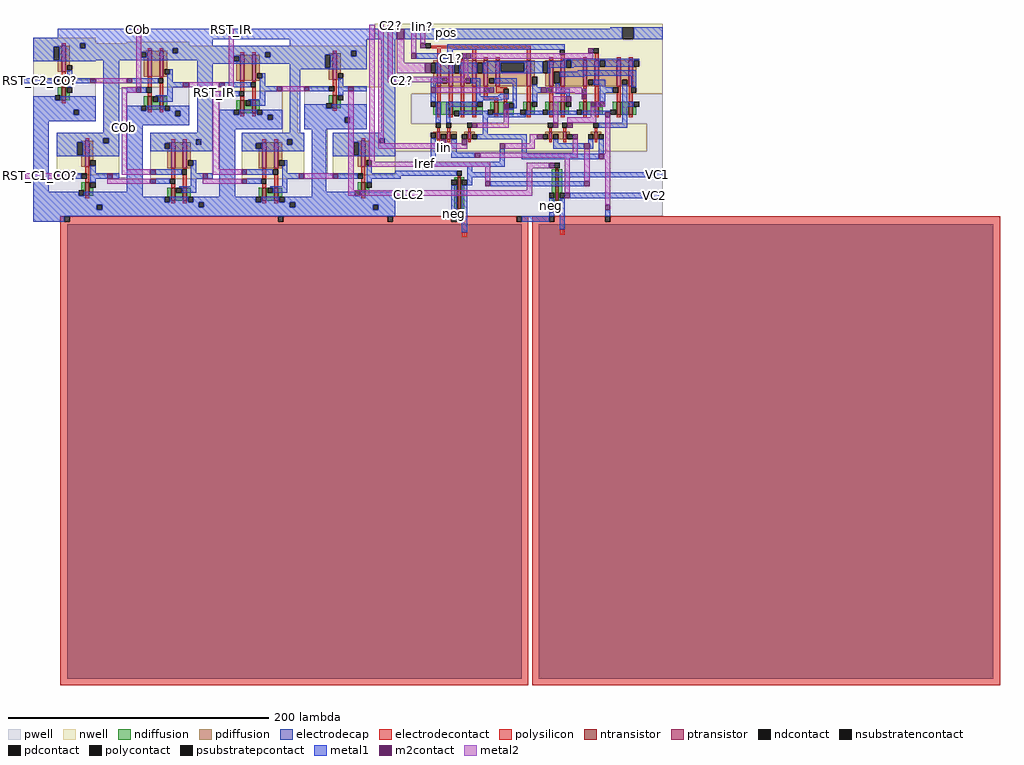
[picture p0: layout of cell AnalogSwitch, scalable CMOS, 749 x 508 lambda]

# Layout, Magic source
magic
tech scmos
<< nwell >>
rect -56 35 165 47
rect -271 4 -246 32
rect -270 2 -246 4
rect -198 2 -175 30
rect -264 -3 -246 2
rect -203 -2 -175 2
rect -264 -37 -252 -3
rect -192 -5 -175 -2
rect -127 -1 -108 30
rect -127 -2 -109 -1
rect -62 -2 165 35
rect -192 -51 -180 -5
rect -127 -37 -115 -2
rect -51 -7 165 -2
rect -51 -30 -28 -7
rect -51 -51 153 -30
rect -51 -55 -40 -51
<< pwell >>
rect -318 -69 -306 -28
rect -318 -83 -300 -69
rect -246 -71 -234 -31
rect -252 -72 -234 -71
rect -175 -72 -163 -34
rect -28 -30 165 -7
rect -104 -69 -92 -34
rect 153 -51 165 -30
rect -104 -72 -88 -69
rect -318 -105 -297 -83
rect -252 -101 -88 -72
rect -40 -101 165 -51
<< electrodecontact >>
rect 11 -117 15 -113
rect 86 -115 90 -111
<< electrodecap >>
rect -292 -456 57 -107
rect 70 -456 419 -107
<< ntransistor >>
rect -8 -23 -5 -13
rect 1 -23 4 -13
rect 10 -23 13 -13
rect 19 -23 22 -13
rect 36 -23 39 -13
rect 43 -23 46 -13
rect 61 -23 64 -13
rect 78 -23 81 -13
rect 87 -23 90 -13
rect 104 -23 107 -13
rect 113 -23 116 -13
rect 130 -23 133 -13
rect 139 -23 142 -13
rect 8 -95 10 -71
rect 83 -89 85 -65
<< ptransistor >>
rect -8 -1 -5 19
rect 1 -1 4 19
rect 10 -1 13 19
rect 19 -1 22 19
rect 28 -1 31 19
rect 37 -1 40 19
rect 61 -1 64 19
rect 78 -1 81 19
rect 87 -1 90 19
rect 104 -1 107 19
rect 113 -1 116 19
rect 130 -1 133 19
rect 139 -1 142 19
rect -8 -42 -6 -36
rect 0 -42 2 -36
rect 16 -42 18 -36
rect 78 -42 80 -36
rect 89 -42 91 -36
rect 113 -42 115 -36
<< ndiffusion >>
rect -9 -17 -8 -13
rect -11 -23 -8 -17
rect -5 -23 1 -13
rect 4 -20 10 -13
rect 4 -23 5 -20
rect 9 -23 10 -20
rect 13 -23 19 -13
rect 22 -17 23 -13
rect 22 -23 27 -17
rect 33 -19 36 -13
rect 35 -23 36 -19
rect 39 -23 43 -13
rect 46 -14 50 -13
rect 46 -18 47 -14
rect 46 -23 51 -18
rect 58 -19 61 -13
rect 60 -23 61 -19
rect 64 -17 65 -13
rect 64 -23 67 -17
rect 75 -19 78 -13
rect 77 -23 78 -19
rect 81 -23 87 -13
rect 90 -17 91 -13
rect 90 -23 93 -17
rect 101 -19 104 -13
rect 103 -23 104 -19
rect 107 -23 113 -13
rect 116 -17 117 -13
rect 116 -23 119 -17
rect 127 -19 130 -13
rect 129 -23 130 -19
rect 133 -23 139 -13
rect 142 -17 143 -13
rect 142 -23 145 -17
rect 5 -73 8 -71
rect 7 -77 8 -73
rect 5 -95 8 -77
rect 10 -73 13 -71
rect 10 -77 11 -73
rect 10 -95 13 -77
rect 80 -83 83 -65
rect 82 -87 83 -83
rect 80 -89 83 -87
rect 85 -83 88 -65
rect 85 -87 86 -83
rect 85 -89 88 -87
<< pdiffusion >>
rect -11 17 -8 19
rect -9 9 -8 17
rect -11 -1 -8 9
rect -5 5 1 19
rect -5 1 -4 5
rect 0 1 1 5
rect -5 -1 1 1
rect 4 17 10 19
rect 4 9 5 17
rect 9 9 10 17
rect 4 -1 10 9
rect 13 5 19 19
rect 13 1 14 5
rect 18 1 19 5
rect 13 -1 19 1
rect 22 17 28 19
rect 22 9 23 17
rect 27 9 28 17
rect 22 -1 28 9
rect 31 5 37 19
rect 31 1 32 5
rect 36 1 37 5
rect 31 -1 37 1
rect 40 17 61 19
rect 40 10 41 17
rect 59 10 61 17
rect 40 -1 61 10
rect 64 6 67 19
rect 75 18 78 19
rect 77 9 78 18
rect 64 0 65 6
rect 64 -1 67 0
rect 75 -1 78 9
rect 81 10 87 19
rect 81 1 82 10
rect 86 1 87 10
rect 81 -1 87 1
rect 90 13 91 19
rect 95 13 104 19
rect 90 -1 104 13
rect 107 4 113 19
rect 107 0 108 4
rect 112 0 113 4
rect 107 -1 113 0
rect 116 14 117 19
rect 121 14 130 19
rect 116 -1 130 14
rect 133 4 139 19
rect 133 0 134 4
rect 138 0 139 4
rect 133 -1 139 0
rect 142 14 143 19
rect 142 -1 145 14
rect -11 -37 -8 -36
rect -9 -41 -8 -37
rect -11 -42 -8 -41
rect -6 -38 0 -36
rect -6 -42 -5 -38
rect -1 -42 0 -38
rect 2 -38 7 -36
rect 13 -38 16 -36
rect 2 -42 3 -38
rect 15 -42 16 -38
rect 18 -38 21 -36
rect 75 -38 78 -36
rect 18 -42 19 -38
rect 77 -42 78 -38
rect 80 -38 89 -36
rect 80 -42 81 -38
rect 85 -42 89 -38
rect 91 -38 94 -36
rect 110 -38 113 -36
rect 91 -42 92 -38
rect 112 -42 113 -38
rect 115 -38 118 -36
rect 115 -42 116 -38
<< ndcontact >>
rect -13 -17 -9 -13
rect 5 -24 9 -20
rect 23 -17 27 -13
rect 31 -23 35 -19
rect 47 -18 51 -14
rect 56 -23 60 -19
rect 65 -17 69 -13
rect 73 -23 77 -19
rect 91 -17 95 -13
rect 99 -23 103 -19
rect 117 -17 121 -13
rect 125 -23 129 -19
rect 143 -17 147 -13
rect 3 -77 7 -73
rect 11 -77 15 -73
rect 78 -87 82 -83
rect 86 -87 90 -83
<< pdcontact >>
rect -13 9 -9 17
rect -4 1 0 5
rect 5 9 9 17
rect 14 1 18 5
rect 23 9 27 17
rect 32 1 36 5
rect 41 10 59 17
rect 73 9 77 18
rect 65 0 69 6
rect 82 1 86 10
rect 91 13 95 19
rect 108 0 112 4
rect 117 14 121 19
rect 134 0 138 4
rect 143 14 147 19
rect -13 -41 -9 -37
rect -5 -42 -1 -38
rect 3 -42 7 -38
rect 11 -42 15 -38
rect 19 -42 23 -38
rect 73 -42 77 -38
rect 81 -42 85 -38
rect 92 -42 96 -38
rect 108 -42 112 -38
rect 116 -42 120 -38
<< psubstratepcontact >>
rect 78 -98 82 -94
<< nsubstratencontact >>
rect 134 35 143 44
<< polysilicon >>
rect -13 28 64 30
rect -8 19 -5 28
rect 1 19 4 20
rect 10 19 13 20
rect 19 19 22 28
rect 28 19 31 21
rect 37 19 40 21
rect 61 19 64 28
rect 78 19 81 21
rect 87 19 90 23
rect 104 19 107 21
rect 113 19 116 24
rect 130 19 133 21
rect 139 19 142 21
rect -8 -13 -5 -1
rect 1 -13 4 -1
rect 10 -13 13 -1
rect 19 -13 22 -1
rect 28 -2 31 -1
rect 37 -2 40 -1
rect 37 -3 46 -2
rect 37 -6 43 -3
rect 28 -10 31 -6
rect 28 -12 39 -10
rect 36 -13 39 -12
rect 43 -13 46 -7
rect 61 -13 64 -1
rect 78 -2 81 -1
rect 80 -6 81 -2
rect 78 -13 81 -6
rect 87 -13 90 -1
rect 104 -3 107 -1
rect 104 -13 107 -7
rect 113 -13 116 -1
rect 130 -2 133 -1
rect 131 -6 133 -2
rect 130 -13 133 -6
rect 139 -2 142 -1
rect 139 -6 141 -2
rect 139 -13 142 -6
rect -8 -25 -5 -23
rect 1 -25 4 -23
rect 10 -25 13 -23
rect 19 -25 22 -23
rect 36 -25 39 -23
rect 43 -25 46 -23
rect 61 -25 64 -23
rect 78 -25 81 -23
rect 87 -25 90 -23
rect 104 -25 107 -23
rect 113 -25 116 -23
rect 130 -25 133 -23
rect 139 -25 142 -23
rect -8 -36 -6 -33
rect 0 -36 2 -33
rect 16 -36 18 -33
rect 78 -36 80 -33
rect 89 -36 91 -33
rect 113 -36 115 -33
rect -8 -44 -6 -42
rect 0 -44 2 -42
rect 16 -44 18 -42
rect 78 -44 80 -42
rect 89 -44 91 -42
rect 113 -44 115 -42
rect 83 -65 85 -64
rect 8 -71 10 -70
rect 83 -91 85 -89
rect 8 -97 10 -95
rect -297 -105 -294 -101
rect -290 -105 -130 -101
rect -126 -105 -46 -101
rect -42 -105 3 -101
rect 7 -105 53 -101
rect 57 -105 62 -101
rect -297 -461 62 -105
rect 65 -105 78 -101
rect 82 -105 121 -101
rect 125 -105 424 -101
rect 65 -461 424 -105
<< polycontact >>
rect -17 28 -13 32
rect 0 20 4 24
rect 10 20 14 24
rect 86 23 90 27
rect 112 24 116 28
rect 28 -6 32 -2
rect 43 -7 47 -3
rect 76 -6 80 -2
rect 103 -7 107 -3
rect 127 -6 131 -2
rect 141 -6 145 -2
rect -9 -33 -5 -29
rect -1 -33 3 -29
rect 15 -33 19 -29
rect 77 -33 81 -29
rect 88 -33 92 -29
rect 112 -33 116 -29
rect 82 -64 86 -60
rect 7 -70 11 -66
rect -294 -105 -290 -101
rect -130 -105 -126 -101
rect -46 -105 -42 -101
rect 3 -105 7 -101
rect 53 -105 57 -101
rect 78 -105 82 -101
rect 121 -105 125 -101
<< metal1 >>
rect 125 43 134 44
rect -299 35 -39 43
rect -33 35 134 43
rect 143 35 165 44
rect -270 33 -180 35
rect -270 19 -246 33
rect -198 30 -180 33
rect -121 30 -62 35
rect -198 19 -175 30
rect -325 1 -318 5
rect -318 -82 -306 -28
rect -264 -37 -252 19
rect -192 16 -175 19
rect -127 16 -108 30
rect -246 -82 -234 -31
rect -192 -51 -180 16
rect -121 12 -108 16
rect -318 -83 -300 -82
rect -318 -101 -297 -83
rect -252 -86 -234 -82
rect -175 -86 -163 -34
rect -121 -37 -113 12
rect -104 -82 -93 -34
rect -51 -55 -40 35
rect 0 27 90 31
rect 0 24 4 27
rect -24 20 0 24
rect 89 19 147 20
rect 89 18 91 19
rect 30 17 73 18
rect -9 9 5 17
rect 9 9 23 17
rect 27 10 41 17
rect 59 10 73 17
rect 27 9 73 10
rect 77 13 91 18
rect 95 14 117 19
rect 121 14 143 19
rect 95 13 97 14
rect 77 9 79 13
rect 100 10 145 11
rect -13 1 -4 5
rect 18 1 25 5
rect 36 1 53 5
rect -13 -2 -9 1
rect -13 -13 -9 -6
rect 22 -9 25 1
rect 40 -8 47 -7
rect 39 -9 47 -8
rect 22 -11 47 -9
rect 22 -12 42 -11
rect 22 -13 27 -12
rect -9 -29 -5 -13
rect -1 -17 23 -13
rect 50 -14 53 1
rect 45 -15 47 -14
rect -1 -29 2 -17
rect 51 -18 53 -14
rect 86 7 145 10
rect 86 6 105 7
rect 65 -2 69 0
rect 65 -6 72 -2
rect 83 -3 86 1
rect 112 0 121 4
rect 117 -2 121 0
rect 65 -13 69 -6
rect 83 -7 94 -3
rect 91 -9 94 -7
rect 117 -6 127 -2
rect 117 -13 121 -6
rect 114 -17 117 -13
rect 134 -13 138 0
rect 141 -2 145 7
rect 134 -17 143 -13
rect 47 -19 51 -18
rect 9 -23 31 -20
rect 35 -23 56 -22
rect 60 -23 73 -20
rect 77 -23 99 -20
rect 103 -21 125 -20
rect 103 -23 121 -21
rect 27 -25 60 -23
rect 27 -38 31 -25
rect 134 -29 138 -17
rect 116 -33 138 -29
rect -13 -59 -9 -41
rect 3 -52 7 -42
rect 23 -42 61 -38
rect 3 -56 21 -52
rect 40 -59 44 -49
rect 57 -53 61 -42
rect 81 -45 85 -42
rect 108 -45 112 -42
rect 81 -49 105 -45
rect 109 -49 112 -45
rect 116 -53 120 -42
rect 57 -57 116 -53
rect -13 -63 44 -59
rect -40 -70 7 -66
rect 15 -67 19 -63
rect -40 -72 -36 -70
rect 15 -71 165 -67
rect -104 -86 -88 -82
rect -252 -101 -228 -86
rect -180 -101 -158 -86
rect -110 -101 -88 -86
rect -46 -101 -42 -99
rect -318 -105 -294 -101
rect 3 -101 7 -77
rect 15 -77 19 -71
rect 11 -113 15 -77
rect 33 -78 105 -74
rect 78 -94 82 -87
rect 78 -101 82 -98
rect 57 -105 78 -101
rect 94 -87 165 -83
rect 86 -111 90 -87
rect 121 -101 125 -96
<< m2contact >>
rect -39 35 -33 43
rect -274 1 -270 5
rect -246 1 -242 5
rect -203 -2 -198 2
rect -239 -6 -235 -2
rect -300 -72 -296 -68
rect -261 -72 -257 -68
rect -175 -2 -171 2
rect -131 -5 -127 -1
rect -168 -9 -164 -5
rect -228 -69 -224 -65
rect -188 -72 -184 -68
rect -228 -76 -224 -72
rect -110 -5 -106 -1
rect -76 -5 -72 -1
rect -158 -69 -154 -65
rect -114 -72 -110 -68
rect -158 -76 -154 -72
rect -21 28 -17 32
rect -28 20 -24 24
rect 14 20 18 24
rect 108 24 112 28
rect -17 9 -13 17
rect -13 -6 -9 -2
rect 32 -6 36 -2
rect 43 -19 47 -15
rect 72 -6 76 -2
rect 91 -13 95 -9
rect 103 -11 107 -7
rect 110 -17 114 -13
rect 121 -25 125 -21
rect 19 -33 23 -29
rect 81 -33 85 -29
rect 92 -33 96 -29
rect -5 -46 -1 -42
rect 69 -42 73 -38
rect 96 -42 100 -38
rect 11 -46 15 -42
rect 40 -49 44 -45
rect 21 -56 25 -52
rect 105 -49 109 -45
rect 116 -57 120 -53
rect -88 -72 -84 -68
rect 78 -64 82 -60
rect 29 -78 33 -74
rect 105 -78 109 -74
rect 90 -87 94 -83
rect 121 -96 125 -92
<< metal2 >>
rect -270 1 -246 5
rect -239 -2 -235 43
rect -198 -2 -175 2
rect -250 -6 -239 -2
rect -168 -5 -164 43
rect -127 -5 -110 -1
rect -250 -65 -246 -6
rect -180 -9 -168 -5
rect -180 -65 -175 -9
rect -324 -72 -300 -68
rect -250 -69 -228 -65
rect -180 -69 -158 -65
rect -110 -72 -88 -68
rect -261 -76 -228 -72
rect -188 -76 -158 -72
rect -76 -81 -72 -5
rect -60 -59 -56 46
rect -53 -45 -49 46
rect -46 6 -42 46
rect -39 17 -33 35
rect -28 24 -24 45
rect -21 32 -17 45
rect 12 20 14 24
rect 18 20 112 24
rect -39 9 -17 17
rect 12 6 16 20
rect -46 2 17 6
rect -9 -6 32 -2
rect 76 -3 103 -2
rect 76 -6 107 -3
rect 98 -7 107 -6
rect 81 -13 91 -9
rect 43 -29 47 -19
rect 23 -33 47 -29
rect 81 -29 85 -13
rect 114 -17 121 -13
rect 110 -25 114 -17
rect 92 -29 114 -25
rect 63 -42 69 -38
rect -53 -46 -5 -45
rect -1 -46 11 -45
rect 63 -45 67 -42
rect -53 -49 15 -46
rect 44 -49 67 -45
rect 96 -52 100 -42
rect 25 -56 100 -52
rect -60 -63 33 -59
rect 29 -74 33 -63
rect 61 -64 78 -60
rect 61 -81 65 -64
rect -76 -85 65 -81
rect 90 -83 94 -56
rect 105 -74 109 -49
rect 121 -53 125 -25
rect 120 -57 125 -53
rect 121 -92 125 -57
use NOT  NOT_3
transform 1 0 -313 0 1 -5
box -5 -23 43 41
use NOR  NOR_3
transform 1 0 -232 0 1 -9
box -14 -22 34 42
use NOR  NOR_1
transform 1 0 -161 0 1 -12
box -14 -22 34 42
use NOT  NOT_1
transform 1 0 -105 0 1 -11
box -5 -23 43 41
use NOT  NOT_2
transform 1 0 -295 0 1 -78
box -5 -23 43 41
use NOR  NOR_2
transform 1 0 -214 0 1 -79
box -14 -22 34 42
use NOR  NOR_0
transform 1 0 -144 0 1 -79
box -14 -22 34 42
use NOT  NOT_0
transform 1 0 -83 0 1 -78
box -5 -23 43 41
<< labels >>
rlabel polycontact 2 20 3 21 1 C1?
rlabel metal2 -2 -48 -2 -48 1 Iin
rlabel polysilicon -7 29 -7 29 1 Iin?
rlabel metal2 -35 3 -35 3 1 C2?
rlabel metal2 -29 -84 -29 -84 1 CLC2
rlabel polycontact 11 20 12 21 1 C2?
rlabel metal1 5 -99 5 -98 1 neg
rlabel metal1 -1 40 -1 40 1 pos
rlabel metal1 80 -93 80 -93 1 neg
rlabel metal2 -18 -61 -18 -60 1 Iref
rlabel metal2 -46 45 -42 46 5 C2?
rlabel metal2 -21 44 -17 45 5 Iin?
rlabel metal2 -28 44 -24 45 5 C1?
rlabel metal2 -53 45 -49 46 5 Iin
rlabel metal2 -60 45 -56 46 5 Iref
rlabel metal1 -33 -69 -33 -69 1 CLC1
rlabel metal2 -179 -6 -179 -6 1 RST_IR
rlabel metal2 -248 -33 -248 -33 1 COb
rlabel metal2 -168 42 -164 43 5 RST_IR
rlabel metal2 -239 42 -236 43 5 COb
rlabel metal2 -324 -72 -323 -68 3 RST_C1_CO?
rlabel metal1 -325 1 -324 5 3 RST_C2_CO?
rlabel metal1 161 -69 161 -69 1 VC1
rlabel metal1 159 -85 159 -85 1 VC2
<< end >>

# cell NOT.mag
magic
tech scmos
<< nwell >>
rect -5 9 43 41
<< pwell >>
rect -5 -23 43 9
<< ntransistor >>
rect 17 -7 20 3
<< ptransistor >>
rect 17 15 20 35
<< ndiffusion >>
rect 14 -3 17 3
rect 16 -7 17 -3
rect 20 -1 21 3
rect 20 -7 23 -1
<< pdiffusion >>
rect 14 34 17 35
rect 15 24 17 34
rect 14 15 17 24
rect 20 20 23 35
rect 20 16 21 20
rect 20 15 23 16
<< ndcontact >>
rect 12 -7 16 -3
rect 21 -1 25 3
<< pdcontact >>
rect 11 24 15 34
rect 21 16 25 20
<< psubstratepcontact >>
rect 26 -18 30 -14
<< nsubstratencontact >>
rect 31 33 35 37
<< polysilicon >>
rect 17 35 20 37
rect 17 10 20 15
rect 18 6 20 10
rect 17 3 20 6
rect 17 -9 20 -7
<< polycontact >>
rect 14 6 18 10
<< metal1 >>
rect -5 37 43 41
rect -5 34 31 37
rect -5 24 11 34
rect 15 33 31 34
rect 35 33 43 37
rect 15 24 43 33
rect -5 23 43 24
rect 21 10 25 16
rect -5 6 14 10
rect 21 6 43 10
rect 21 3 25 6
rect -5 -7 12 -4
rect 16 -7 43 -4
rect -5 -14 43 -7
rect -5 -18 26 -14
rect 30 -18 43 -14
rect -5 -23 43 -18
<< labels >>
rlabel metal1 -4 8 -4 8 3 In
rlabel metal1 42 8 42 8 7 Out
rlabel metal1 3 -17 3 -17 1 Vneg
rlabel metal1 4 35 4 35 1 pos
<< end >>

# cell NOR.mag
magic
tech scmos
<< nwell >>
rect -14 7 34 42
<< pwell >>
rect -14 -22 34 7
<< ntransistor >>
rect 2 -10 5 0
rect 11 -10 14 0
<< ptransistor >>
rect 2 15 5 35
rect 11 15 14 35
<< ndiffusion >>
rect -1 -7 2 0
rect 1 -10 2 -7
rect 5 -4 6 0
rect 10 -4 11 0
rect 5 -10 11 -4
rect 14 -7 17 0
rect 14 -10 15 -7
<< pdiffusion >>
rect -1 34 2 35
rect 1 30 2 34
rect -1 15 2 30
rect 5 15 11 35
rect 14 21 17 35
rect 14 17 15 21
rect 14 15 17 17
<< ndcontact >>
rect -3 -11 1 -7
rect 6 -4 10 0
rect 15 -11 19 -7
<< pdcontact >>
rect -3 30 1 34
rect 15 17 19 21
<< psubstratepcontact >>
rect 23 -15 27 -11
<< nsubstratencontact >>
rect 21 33 25 37
<< polysilicon >>
rect 2 35 5 37
rect 11 35 14 37
rect 2 7 5 15
rect 11 14 14 15
rect 2 0 5 3
rect 11 0 14 10
rect 2 -12 5 -10
rect 11 -12 14 -10
<< polycontact >>
rect 10 10 14 14
rect 1 3 5 7
<< metal1 >>
rect -14 37 34 42
rect -14 34 21 37
rect -14 30 -3 34
rect 1 33 21 34
rect 25 33 34 37
rect 1 30 34 33
rect -14 28 34 30
rect 19 17 21 21
rect -14 10 10 14
rect 17 11 21 17
rect 17 7 34 11
rect -14 3 1 7
rect 17 1 21 7
rect 8 0 21 1
rect 10 -4 21 0
rect -14 -11 -3 -7
rect 1 -11 15 -7
rect 19 -11 34 -7
rect -14 -15 23 -11
rect 27 -15 34 -11
rect -14 -22 34 -15
<< labels >>
rlabel metal1 -5 12 -5 12 3 A
rlabel metal1 -5 5 -5 5 3 B
rlabel metal1 19 8 19 8 7 Out
rlabel metal1 -10 32 -9 33 3 pos
rlabel metal1 -11 -11 -10 -10 3 neg
<< end >>
